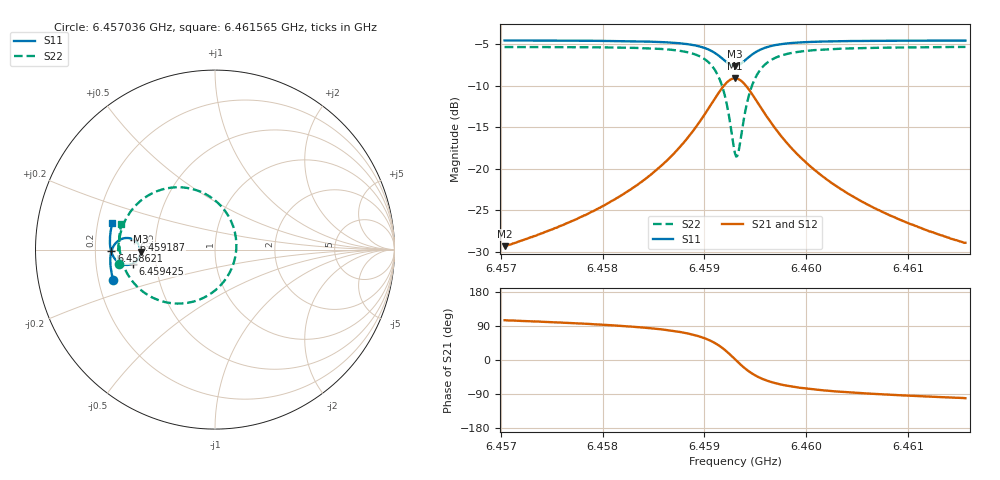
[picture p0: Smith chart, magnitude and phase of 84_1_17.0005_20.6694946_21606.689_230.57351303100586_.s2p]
#  HZ  S  RI  R  50.00
! Rohde & Schwarz Vector Network Analyzer
! Rohde-Schwarz,ZNB20-2Port,1311601062101988,3.16
! Created: UTC 3/20/2024, 10:55:50 PM
! freq[Hz]  re:S11  im:S11  re:S21  im:S21  re:S12  im:S12  re:S22  im:S22
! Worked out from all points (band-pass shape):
!   401 points, 6.457036 GHz to 6.461565 GHz, reference 50 ohm
!   highest |S21| = -9.11 dB at 6.4593 GHz (marker M1); lowest = -29.3 dB at 6.457036 GHz (marker M2)
!   |S21| within 3 dB of the highest: 6.459073 GHz to 6.459526 GHz (453.3 kHz wide, 0.00702 % of centre)
!   lowest |S11| = -7.6 dB at 6.4593 GHz (marker M3), VSWR 2.42, Z = 20.7 - j0.533 ohm
!   |S11| at or under -10 dB: nowhere
!   |S22| runs from -18.5 to -5.3 dB; largest |S21 - S12| = 0.014
!   S11 on the Smith chart (normalised r, x): 6.457036 GHz: 0.26, -0.14; 6.458621 GHz: 0.27, -0.01; 6.459187 GHz: 0.38, +0.05; 6.459425 GHz: 0.37, -0.07; 6.461565 GHz: 0.26, +0.12
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6.4570359e9  -0.5674 -0.1691  -0.0088 0.033  -0.00706 0.0329  -0.5345 -0.0787
6.4577945e9  -0.5808 -0.1024  -0.00538 0.0513  -0.00277 0.0506  -0.5387 0.011
6.4582134e9  -0.5834 -0.0601  0.000796 0.071  0.004 0.0696  -0.5299 0.0783
6.458553e9  -0.5795 -0.019  0.0149 0.1002  0.019 0.0974  -0.5035 0.1563
6.4586209e9  -0.577 -0.00951  0.0204 0.1086  0.0246 0.1054  -0.4931 0.1761
6.4588134e9  -0.5642 0.0209  0.0475 0.1399  0.0516 0.1349  -0.4425 0.2454
6.4589606e9  -0.5409 0.0473  0.0936 0.1707  0.0968 0.1639  -0.3572 0.31
6.4590965e9  -0.4964 0.0647  0.1823 0.1869  0.1832 0.1795  -0.1954 0.3474
6.459187e9  -0.4511 0.0538  0.2734 0.1546  0.2736 0.1487  -0.0272 0.2944
6.459255e9  -0.4218 0.021  0.3342 0.0813  0.3364 0.0758  0.0881 0.1619
6.4593002e9  -0.4149 -0.0107  0.3501 0.0123  0.3539 0.0052  0.1191 0.0328
6.4593116e9  -0.4153 -0.0189  0.3498 -0.00566  0.3537 -0.0135  0.1184 -0.000975
6.4593342e9  -0.4191 -0.0348  0.3437 -0.0409  0.3477 -0.05  0.1063 -0.0674
6.4593795e9  -0.4349 -0.0612  0.3145 -0.1012  0.3166 -0.1132  0.0467 -0.1811
6.4594248e9  -0.4574 -0.0777  0.2716 -0.1423  0.2709 -0.1558  -0.0398 -0.2556
6.4595154e9  -0.5013 -0.0847  0.1859 -0.1734  0.1796 -0.1849  -0.2105 -0.3007
6.4596625e9  -0.5458 -0.0643  0.097 -0.1589  0.0884 -0.1651  -0.3795 -0.2495
6.4598211e9  -0.5677 -0.0366  0.0517 -0.1304  0.044 -0.1333  -0.46 -0.1766
6.4600588e9  -0.5805 -0.00114  0.0224 -0.0985  0.0165 -0.099  -0.508 -0.0935
6.4604438e9  -0.5855 0.0445  0.00512 -0.0688  0.0012 -0.0681  -0.5304 -0.00571
6.4608174e9  -0.5837 0.082  -0.00147 -0.0525  -0.00431 -0.0517  -0.5335 0.0539
6.4615646e9  -0.572 0.1484  -0.0067 -0.0352  -0.00835 -0.0341  -0.522 0.143
